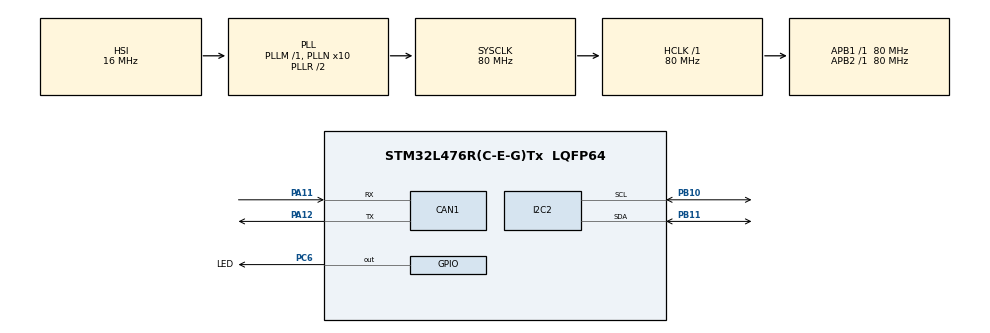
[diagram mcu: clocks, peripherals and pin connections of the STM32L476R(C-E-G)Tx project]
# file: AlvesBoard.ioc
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CAN1.BS1=CAN_BS1_4TQ
CAN1.CalculateTimeQuantum=200.0
Mcu.Family=STM32L4
Mcu.Name=STM32L476R(C-E-G)Tx
Mcu.Package=LQFP64
NVIC.PriorityGroup=NVIC_PRIORITYGROUP_4
PA11.Mode=Master
PA11.Signal=CAN1_RX
PA12.Mode=Master
PA12.Signal=CAN1_TX
PA13\ (JTMS-SWDIO).Mode=JTAG_5_pins
PA13\ (JTMS-SWDIO).Signal=SYS_JTMS-SWDIO
PA14\ (JTCK-SWCLK).Mode=JTAG_5_pins
PA14\ (JTCK-SWCLK).Signal=SYS_JTCK-SWCLK
PA15\ (JTDI).Mode=JTAG_5_pins
PA15\ (JTDI).Signal=SYS_JTDI
PB10.Mode=I2C
PB10.Signal=I2C2_SCL
PB11.Mode=I2C
PB11.Signal=I2C2_SDA
PB3\ (JTDO-TRACESWO).Mode=JTAG_5_pins
PB3\ (JTDO-TRACESWO).Signal=SYS_JTDO-SWO
PB4\ (NJTRST).Mode=JTAG_5_pins
PB4\ (NJTRST).Signal=SYS_JTRST
PC14-OSC32_IN\ (PC14).Mode=LSE-External-Oscillator
PC14-OSC32_IN\ (PC14).Signal=RCC_OSC32_IN
PC15-OSC32_OUT\ (PC15).Mode=LSE-External-Oscillator
PC15-OSC32_OUT\ (PC15).Signal=RCC_OSC32_OUT
PC6.GPIO_Label=LED
PC6.Signal=GPIO_Output
ProjectManager.HeapSize=0x200
ProjectManager.StackSize=0x400
ProjectManager.TargetToolchain=STM32CubeIDE
RCC.ADCFreq_Value=64000000
RCC.AHBFreq_Value=80000000
RCC.APB1Freq_Value=80000000
RCC.APB1TimFreq_Value=80000000
RCC.APB2Freq_Value=80000000
RCC.APB2TimFreq_Value=80000000
RCC.CortexFreq_Value=80000000
RCC.HCLKFreq_Value=80000000
RCC.HSE_VALUE=8000000
RCC.HSI_VALUE=16000000
RCC.MSI_VALUE=4000000
RCC.PLLN=10
RCC.PLLSourceVirtual=RCC_PLLSOURCE_HSI
RCC.SYSCLKFreq_VALUE=80000000
RCC.SYSCLKSource=RCC_SYSCLKSOURCE_PLLCLK
RCC.USBFreq_Value=64000000
RCC.VCOOutputFreq_Value=160000000
board=custom

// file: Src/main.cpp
/* USER CODE BEGIN Header */
/**
  ******************************************************************************
  * @file           : main.c
  * @brief          : Main program body
  ******************************************************************************
  * @attention
  *
  * <h2><center>&copy; Copyright (c) 2019 STMicroelectronics.
  * All rights reserved.</center></h2>
  *
  * This software component is licensed by ST under BSD 3-Clause license,
  * the "License"; You may not use this file except in compliance with the
  * License. You may obtain a copy of the License at:
  *                        opensource.org/licenses/BSD-3-Clause
  *
  ******************************************************************************
  */
/* USER CODE END Header */

#include "main.h"

/* USER CODE BEGIN Includes */
#include "Adafruit_BNO055.h"
#include "zenith_can_lib.h"
#include <stdio.h>
/* USER CODE END Includes */

CAN_HandleTypeDef hcan1;

I2C_HandleTypeDef hi2c2;

/* USER CODE BEGIN PV */
Z_CAN_Package can_rx_pkg;
Z_CAN_Package can_tx_pkg;

typedef union _converter{
	float convert_float;
	uint32_t convert_int;
} Converter;

Converter c;
/* USER CODE END PV */

void SystemClock_Config(void);
static void MX_GPIO_Init(void);
static void MX_CAN1_Init(void);
static void MX_I2C2_Init(void);

int main(void)
{

  /* MCU Configuration--------------------------------------------------------*/

  /* Reset of all peripherals, Initializes the Flash interface and the Systick. */
  HAL_Init();

  /* Configure the system clock */
  SystemClock_Config();

  /* Initialize all configured peripherals */
  MX_GPIO_Init();
  MX_CAN1_Init();
  MX_I2C2_Init();
  /* USER CODE BEGIN 2 */
  double xPos = 0, yPos = 0, headingVel = 0;
  uint16_t BNO055_SAMPLERATE_DELAY_MS = 10; //how often to read data from the board
  uint16_t PRINT_DELAY_MS = 500; // how often to print the data
  uint16_t printCount = 0; //counter to avoid printing every 10MS sample
  double ACCEL_VEL_TRANSITION =  (double)(BNO055_SAMPLERATE_DELAY_MS) / 1000.0;
  double ACCEL_POS_TRANSITION = 0.5 * ACCEL_VEL_TRANSITION * ACCEL_VEL_TRANSITION;
  double DEG_2_RAD = 0.01745329251; //trig functions require radians, BNO055 outputs degrees

  Adafruit_BNO055 bno = Adafruit_BNO055(hi2c2, 55);

  bno.begin();

  // Initializing CAN Filter
  filterConfigCAN(&hcan1);
  HAL_CAN_Start(&hcan1);
  /* USER CODE END 2 */

  /* Infinite loop */
  while (1)
  {

    /* USER CODE BEGIN 3 */
	  sensors_event_t orientationData , linearAccelData;
	  bno.getEvent(&orientationData, Adafruit_BNO055::VECTOR_EULER);
	  //  bno.getEvent(&angVelData, Adafruit_BNO055::VECTOR_GYROSCOPE);
	  bno.getEvent(&linearAccelData, Adafruit_BNO055::VECTOR_LINEARACCEL);

	  xPos = xPos + ACCEL_POS_TRANSITION * linearAccelData.acceleration.x;
	  yPos = yPos + ACCEL_POS_TRANSITION * linearAccelData.acceleration.y;

	  // velocity of sensor in the direction it's facing
	  headingVel = ACCEL_VEL_TRANSITION * linearAccelData.acceleration.x / cos(DEG_2_RAD * orientationData.orientation.x);
	  HAL_Delay(10);

	  c.convert_float = orientationData.orientation.x;
	  can_tx_pkg.data[0] = c.convert_int;
	  c.convert_float = orientationData.orientation.y;
	  can_tx_pkg.data[1] = c.convert_int;
	  c.convert_float = orientationData.orientation.z;
	  can_tx_pkg.data[2] = c.convert_int;
	  c.convert_float = linearAccelData.acceleration.x;
	  can_tx_pkg.data[3] = c.convert_int;
	  c.convert_float = linearAccelData.acceleration.y;
	  can_tx_pkg.data[4] = c.convert_int;
	  c.convert_float = linearAccelData.acceleration.z;
	  can_tx_pkg.data[5] = c.convert_int;
	  can_tx_pkg.data[6] = 0;
	  can_tx_pkg.data[7] = 0;
	  // TODO: Verificar ID
	  can_tx_pkg.identifier = 0;

	  sendCanMessage(&hcan1, can_tx_pkg);
  }
  /* USER CODE END 3 */
}

void SystemClock_Config(void)
{
  RCC_OscInitTypeDef RCC_OscInitStruct = {0};
  RCC_ClkInitTypeDef RCC_ClkInitStruct = {0};
  RCC_PeriphCLKInitTypeDef PeriphClkInit = {0};

  /** Initializes the CPU, AHB and APB busses clocks
  */
  RCC_OscInitStruct.OscillatorType = RCC_OSCILLATORTYPE_HSI;
  RCC_OscInitStruct.HSIState = RCC_HSI_ON;
  RCC_OscInitStruct.HSICalibrationValue = RCC_HSICALIBRATION_DEFAULT;
  RCC_OscInitStruct.PLL.PLLState = RCC_PLL_ON;
  RCC_OscInitStruct.PLL.PLLSource = RCC_PLLSOURCE_HSI;
  RCC_OscInitStruct.PLL.PLLM = 1;
  RCC_OscInitStruct.PLL.PLLN = 10;
  RCC_OscInitStruct.PLL.PLLP = RCC_PLLP_DIV7;
  RCC_OscInitStruct.PLL.PLLQ = RCC_PLLQ_DIV2;
  RCC_OscInitStruct.PLL.PLLR = RCC_PLLR_DIV2;
  if (HAL_RCC_OscConfig(&RCC_OscInitStruct) != HAL_OK)
  {
    Error_Handler();
  }
  /** Initializes the CPU, AHB and APB busses clocks
  */
  RCC_ClkInitStruct.ClockType = RCC_CLOCKTYPE_HCLK|RCC_CLOCKTYPE_SYSCLK
                              |RCC_CLOCKTYPE_PCLK1|RCC_CLOCKTYPE_PCLK2;
  RCC_ClkInitStruct.SYSCLKSource = RCC_SYSCLKSOURCE_PLLCLK;
  RCC_ClkInitStruct.AHBCLKDivider = RCC_SYSCLK_DIV1;
  RCC_ClkInitStruct.APB1CLKDivider = RCC_HCLK_DIV1;
  RCC_ClkInitStruct.APB2CLKDivider = RCC_HCLK_DIV1;

  if (HAL_RCC_ClockConfig(&RCC_ClkInitStruct, FLASH_LATENCY_4) != HAL_OK)
  {
    Error_Handler();
  }
  PeriphClkInit.PeriphClockSelection = RCC_PERIPHCLK_I2C2;
  PeriphClkInit.I2c2ClockSelection = RCC_I2C2CLKSOURCE_PCLK1;
  if (HAL_RCCEx_PeriphCLKConfig(&PeriphClkInit) != HAL_OK)
  {
    Error_Handler();
  }
  /** Configure the main internal regulator output voltage
  */
  if (HAL_PWREx_ControlVoltageScaling(PWR_REGULATOR_VOLTAGE_SCALE1) != HAL_OK)
  {
    Error_Handler();
  }
}

static void MX_CAN1_Init(void)
{

  hcan1.Instance = CAN1;
  hcan1.Init.Prescaler = 16;
  hcan1.Init.Mode = CAN_MODE_NORMAL;
  hcan1.Init.SyncJumpWidth = CAN_SJW_1TQ;
  hcan1.Init.TimeSeg1 = CAN_BS1_4TQ;
  hcan1.Init.TimeSeg2 = CAN_BS2_1TQ;
  hcan1.Init.TimeTriggeredMode = DISABLE;
  hcan1.Init.AutoBusOff = DISABLE;
  hcan1.Init.AutoWakeUp = DISABLE;
  hcan1.Init.AutoRetransmission = DISABLE;
  hcan1.Init.ReceiveFifoLocked = DISABLE;
  hcan1.Init.TransmitFifoPriority = DISABLE;
  if (HAL_CAN_Init(&hcan1) != HAL_OK)
  {
    Error_Handler();
  }

}

static void MX_I2C2_Init(void)
{

  hi2c2.Instance = I2C2;
  hi2c2.Init.Timing = 0x10909CEC;
  hi2c2.Init.OwnAddress1 = 0;
  hi2c2.Init.AddressingMode = I2C_ADDRESSINGMODE_7BIT;
  hi2c2.Init.DualAddressMode = I2C_DUALADDRESS_DISABLE;
  hi2c2.Init.OwnAddress2 = 0;
  hi2c2.Init.OwnAddress2Masks = I2C_OA2_NOMASK;
  hi2c2.Init.GeneralCallMode = I2C_GENERALCALL_DISABLE;
  hi2c2.Init.NoStretchMode = I2C_NOSTRETCH_DISABLE;
  if (HAL_I2C_Init(&hi2c2) != HAL_OK)
  {
    Error_Handler();
  }
  /** Configure Analogue filter
  */
  if (HAL_I2CEx_ConfigAnalogFilter(&hi2c2, I2C_ANALOGFILTER_ENABLE) != HAL_OK)
  {
    Error_Handler();
  }
  /** Configure Digital filter
  */
  if (HAL_I2CEx_ConfigDigitalFilter(&hi2c2, 0) != HAL_OK)
  {
    Error_Handler();
  }

}

static void MX_GPIO_Init(void)
{
  GPIO_InitTypeDef GPIO_InitStruct = {0};

  /* GPIO Ports Clock Enable */
  __HAL_RCC_GPIOC_CLK_ENABLE();
  __HAL_RCC_GPIOB_CLK_ENABLE();
  __HAL_RCC_GPIOA_CLK_ENABLE();

  /*Configure GPIO pin Output Level */
  HAL_GPIO_WritePin(LED_GPIO_Port, LED_Pin, GPIO_PIN_RESET);

  /*Configure GPIO pin : LED_Pin */
  GPIO_InitStruct.Pin = LED_Pin;
  GPIO_InitStruct.Mode = GPIO_MODE_OUTPUT_PP;
  GPIO_InitStruct.Pull = GPIO_NOPULL;
  GPIO_InitStruct.Speed = GPIO_SPEED_FREQ_LOW;
  HAL_GPIO_Init(LED_GPIO_Port, &GPIO_InitStruct);

}

void Error_Handler(void)
{
}

/************************ (C) COPYRIGHT STMicroelectronics *****END OF FILE****/
